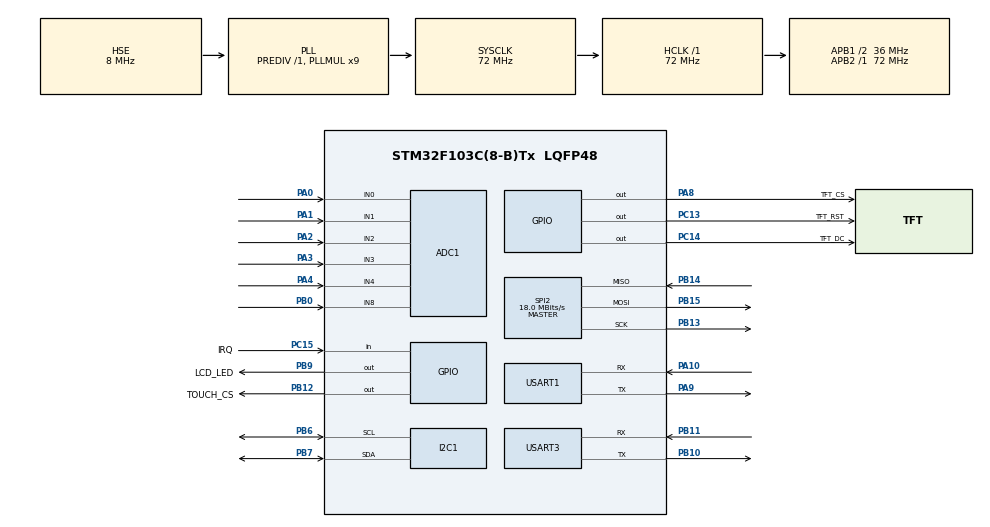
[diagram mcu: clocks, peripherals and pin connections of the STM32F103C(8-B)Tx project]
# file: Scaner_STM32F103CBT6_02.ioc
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ADC1.Channel-0\#ChannelRegularConversion=ADC_CHANNEL_0
ADC1.Channel-1\#ChannelRegularConversion=ADC_CHANNEL_1
ADC1.Channel-2\#ChannelRegularConversion=ADC_CHANNEL_2
ADC1.Channel-3\#ChannelRegularConversion=ADC_CHANNEL_8
ADC1.Channel-4\#ChannelRegularConversion=ADC_CHANNEL_4
ADC1.Channel-5\#ChannelRegularConversion=ADC_CHANNEL_3
ADC1.ExternalTrigConv=ADC_EXTERNALTRIGCONV_T3_TRGO
ADC1.NbrOfConversion=6
ADC1.NbrOfConversionFlag=1
ADC1.Rank-0\#ChannelRegularConversion=1
ADC1.Rank-1\#ChannelRegularConversion=2
ADC1.Rank-2\#ChannelRegularConversion=3
ADC1.Rank-3\#ChannelRegularConversion=4
ADC1.Rank-4\#ChannelRegularConversion=5
ADC1.Rank-5\#ChannelRegularConversion=6
ADC1.SamplingTime-0\#ChannelRegularConversion=ADC_SAMPLETIME_13CYCLES_5
ADC1.SamplingTime-1\#ChannelRegularConversion=ADC_SAMPLETIME_13CYCLES_5
ADC1.SamplingTime-2\#ChannelRegularConversion=ADC_SAMPLETIME_13CYCLES_5
ADC1.SamplingTime-3\#ChannelRegularConversion=ADC_SAMPLETIME_13CYCLES_5
ADC1.SamplingTime-4\#ChannelRegularConversion=ADC_SAMPLETIME_13CYCLES_5
ADC1.SamplingTime-5\#ChannelRegularConversion=ADC_SAMPLETIME_13CYCLES_5
ADC1.master=1
Dma.ADC1.0.Direction=DMA_PERIPH_TO_MEMORY
Dma.ADC1.0.Instance=DMA1_Channel1
Dma.ADC1.0.MemDataAlignment=DMA_MDATAALIGN_HALFWORD
Dma.ADC1.0.MemInc=DMA_MINC_ENABLE
Dma.ADC1.0.Mode=DMA_NORMAL
Dma.ADC1.0.PeriphDataAlignment=DMA_PDATAALIGN_HALFWORD
Dma.ADC1.0.PeriphInc=DMA_PINC_DISABLE
Dma.ADC1.0.Priority=DMA_PRIORITY_LOW
Dma.Request0=ADC1
Mcu.Family=STM32F1
Mcu.Name=STM32F103C(8-B)Tx
Mcu.Package=LQFP48
NVIC.DMA1_Channel1_IRQn=true\:0\:0\:false\:false\:true\:false\:true\:true
NVIC.PriorityGroup=NVIC_PRIORITYGROUP_4
PA0-WKUP.Signal=ADCx_IN0
PA1.Signal=ADCx_IN1
PA10.Mode=Asynchronous
PA10.Signal=USART1_RX
PA2.Signal=ADCx_IN2
PA3.Signal=ADCx_IN3
PA4.Signal=ADCx_IN4
PA8.GPIO_Label=TFT_CS
PA8.Signal=GPIO_Output
PA9.Mode=Asynchronous
PA9.Signal=USART1_TX
PB0.Signal=ADCx_IN8
PB10.Mode=Asynchronous
PB10.Signal=USART3_TX
PB11.Mode=Asynchronous
PB11.Signal=USART3_RX
PB12.GPIO_Label=TOUCH_CS
PB12.Signal=GPIO_Output
PB13.Mode=Full_Duplex_Master
PB13.Signal=SPI2_SCK
PB14.Mode=Full_Duplex_Master
PB14.Signal=SPI2_MISO
PB15.Mode=Full_Duplex_Master
PB15.Signal=SPI2_MOSI
PB6.Mode=I2C
PB6.Signal=I2C1_SCL
PB7.Mode=I2C
PB7.Signal=I2C1_SDA
PB9.GPIO_Label=LCD_LED
PB9.Signal=GPIO_Output
PC13-TAMPER-RTC.GPIO_Label=TFT_RST
PC13-TAMPER-RTC.Signal=GPIO_Output
PC14-OSC32_IN.GPIO_Label=TFT_DC
PC14-OSC32_IN.Signal=GPIO_Output
PC15-OSC32_OUT.GPIO_Label=IRQ
PC15-OSC32_OUT.Signal=GPIO_Input
PD0-OSC_IN.Mode=HSE-External-Oscillator
PD0-OSC_IN.Signal=RCC_OSC_IN
PD1-OSC_OUT.Mode=HSE-External-Oscillator
PD1-OSC_OUT.Signal=RCC_OSC_OUT
ProjectManager.HeapSize=0x200
ProjectManager.StackSize=0x400
ProjectManager.TargetToolchain=MDK-ARM V5.32
RCC.ADCPresc=RCC_ADCPCLK2_DIV6
RCC.AHBFreq_Value=72000000
RCC.APB1CLKDivider=RCC_HCLK_DIV2
RCC.APB1Freq_Value=36000000
RCC.APB1TimFreq_Value=72000000
RCC.APB2Freq_Value=72000000
RCC.APB2TimFreq_Value=72000000
RCC.HCLKFreq_Value=72000000
RCC.PLLMUL=RCC_PLL_MUL9
RCC.PLLSourceVirtual=RCC_PLLSOURCE_HSE
RCC.SYSCLKFreq_VALUE=72000000
RCC.SYSCLKSource=RCC_SYSCLKSOURCE_PLLCLK
RCC.USBFreq_Value=72000000
SH.ADCx_IN0.0=ADC1_IN0,IN0
SH.ADCx_IN1.0=ADC1_IN1,IN1
SH.ADCx_IN2.0=ADC1_IN2,IN2
SH.ADCx_IN3.0=ADC1_IN3,IN3
SH.ADCx_IN4.0=ADC1_IN4,IN4
SH.ADCx_IN8.0=ADC1_IN8,IN8
SPI2.CalculateBaudRate=18.0 MBits/s
SPI2.Direction=SPI_DIRECTION_2LINES
SPI2.Mode=SPI_MODE_MASTER
SPI2.VirtualType=VM_MASTER
TIM3.Period=10000-1
TIM3.Prescaler=720-1
TIM3.TIM_MasterOutputTrigger=TIM_TRGO_UPDATE
USART1.VirtualMode=VM_ASYNC
USART3.VirtualMode=VM_ASYNC
VP_SYS_VS_ND.Mode=No_Debug
VP_TIM3_VS_ClockSourceINT.Mode=Internal
board=custom

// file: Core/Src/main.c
/* USER CODE BEGIN Header */
/**
  ******************************************************************************
  * @file           : main.c
  * @brief          : Main program body
  ******************************************************************************
  * @attention
  *
  * Copyright (c) 2023 STMicroelectronics.
  * All rights reserved.
  *
  * This software is licensed under terms that can be found in the LICENSE file
  * in the root directory of this software component.
  * If no LICENSE file comes with this software, it is provided AS-IS.
  *
  ******************************************************************************
  */
/* USER CODE END Header */
#include "main.h"

/* USER CODE BEGIN Includes */
#include "string.h" // это для функции strlen()
#include <stdarg.h>
#include <stdbool.h>
#include <ctype.h>
#include "stdio.h"

#include "r820t2.h"

#include "ILI9341_GFX.h"
#include "fonts.h"
#include "img.h"
#include "xpt2046_touch.h"

/* USER CODE END Includes */

/* USER CODE BEGIN PM */
volatile uint8_t flag = 0;
/* USER CODE END PM */

ADC_HandleTypeDef hadc1;
DMA_HandleTypeDef hdma_adc1;

I2C_HandleTypeDef hi2c1;

SPI_HandleTypeDef hspi2;

TIM_HandleTypeDef htim3;

UART_HandleTypeDef huart1;
UART_HandleTypeDef huart3;

/* USER CODE BEGIN PV */
char trans_str[64] = {0,};
volatile uint16_t adc[6] = {0,}; // у нас два канала поэтому массив из двух элементов

volatile uint32_t R820T2_freq = 1090000000;
/* USER CODE END PV */

void SystemClock_Config(void);
static void MX_GPIO_Init(void);
static void MX_DMA_Init(void);
static void MX_ADC1_Init(void);
static void MX_TIM3_Init(void);
static void MX_USART1_UART_Init(void);
static void MX_I2C1_Init(void);
static void MX_SPI2_Init(void);
static void MX_USART3_UART_Init(void);

/* USER CODE BEGIN 0 */
void HAL_ADC_ConvCpltCallback(ADC_HandleTypeDef* hadc)
{

	if(hadc->Instance == ADC1)
    {
        flag = 1;
    }
}

void UART_Printf(const char* fmt, ...) {
    char buff[256];
    va_list args;
    va_start(args, fmt);
    vsnprintf(buff, sizeof(buff), fmt, args);
    HAL_UART_Transmit(&huart1, (uint8_t*)buff, strlen(buff),
                      HAL_MAX_DELAY);
    va_end(args);
}

HAL_StatusTypeDef UART_ReceiveString(
        UART_HandleTypeDef *huart, uint8_t *pData,
        uint16_t Size, uint32_t Timeout) {
    const char newline[] = "\r\n";
    const char delete[] = "\x08 \x08";
    HAL_StatusTypeDef status;

    if(Size == 0)
        return HAL_ERROR;

    int i = 0;
    for(;;) {
        status = HAL_UART_Receive(huart, &pData[i], 1, Timeout);
        if(status != HAL_OK)
            return status;

        if((pData[i] == '\x08')||(pData[i] == '\x7F')) { // backspace
            if(i > 0) {
                status = HAL_UART_Transmit(huart, (uint8_t*)delete,
                                           sizeof(delete)-1, Timeout);
                if(status != HAL_OK)
                    return status;
                i--;
            }
            continue;
        }

        if((pData[i] == '\r') || (pData[i] == '\n')) {
            pData[i] = '\0';
            status = HAL_UART_Transmit(huart, (uint8_t*)newline,
                                       sizeof(newline)-1, Timeout);
            if(status != HAL_OK)
                return status;
            break;
        }

        // last character is reserved for '\0'
        if(i == (Size-1)) {
            continue; // buffer is full, ignore any input
        }

        status = HAL_UART_Transmit(huart, &pData[i], 1, Timeout);
        if(status != HAL_OK)
            return status;
        i++;
    }

    return HAL_OK;
}

void init() {
    /* do nothing */
}

void cmd_help() {
    UART_Printf("help              - show this message\r\n");
    UART_Printf("scan              - perform I2C scan\r\n");
    UART_Printf("dump              - read all registers\r\n");
    UART_Printf("read <reg>        - read given register value\r\n"
                "                    (e.g `read 0A`)\r\n");
    UART_Printf("write <reg> <val> - write <val> to register <reg>\r\n"
                "                    (e.g. `write 0A E1`)\r\n");
    UART_Printf("init              - initialize R820T2\r\n");
    UART_Printf("calibrate         - calibrate R820T2\r\n");
    UART_Printf("frequency <val>   - set frequency to <val>\r\n"
                "                    (e.g. `frequency 144000000`)\r\n");
    UART_Printf("bandwidth <val>   - Set IF bandwidth [0-15]\r\n");
    UART_Printf("lna_gain <val>    - Set gain of LNA [0-15]\r\n");
    UART_Printf("vga_gain <val>    - Set gain of VGA [0-15]\r\n");
    UART_Printf("mixer_gain <val>  - Set gain Mixer [0-15]\r\n");
    UART_Printf("lna_agc <val>     - Enable/disable LNA AGC [0-1]\r\n");
    UART_Printf("mixer_agc <val>   - Enable/disable Mixer AGC [0-1]\r\n");
}

void cmd_scan() {
    HAL_StatusTypeDef res;
    for(uint16_t i = 0; i < 128; i++) {
        res = HAL_I2C_IsDeviceReady(&hi2c1, i << 1, 1, 10);
        if(res == HAL_OK) {
            UART_Printf("0x%02X ", i);
        } else {
            UART_Printf(".");
        }
    }
    UART_Printf("\r\n");
}

void cmd_dump() {
    uint8_t regs[R820T2_NUM_REGS];
    R820T2_read(0x00, regs, sizeof(regs));
    for(uint8_t i = 0; i < R820T2_NUM_REGS; i++) {
        UART_Printf("%02X ", regs[i]);
        if((i & 0x7) == 0x7) {
            UART_Printf("  ");
        }
        if((i & 0xF) == 0xF) {
            UART_Printf("\r\n");
        }
    }
}

void cmd_read(uint8_t reg) {
    if(reg >= R820T2_NUM_REGS) {
        UART_Printf("Out of bound: 0x00-0x%02X\r\n", R820T2_NUM_REGS);
        return;
    }

    uint8_t val = R820T2_read_reg(reg);
    UART_Printf("%02X\r\n", val);
}

void cmd_write(uint8_t reg, uint8_t val) {
    if(reg >= R820T2_NUM_REGS) {
        UART_Printf("Out of bound: 0x00-0x%02X\r\n", R820T2_NUM_REGS);
        return;
    }

    R820T2_write_reg(reg, val);
}

void cmd_init() {
    R820T2_init();
}

void cmd_calibrate() {
    int32_t res = R820T2_calibrate();
    if(res != 0) {
        UART_Printf("Calibration failed, res = %d\r\n", res);
    }
}

void cmd_frequency(uint32_t val) {
    if((val < 24000000) || (val > 1766000000)) {
        UART_Printf("Out of bound: 24000000-1766000000\r\n");
        return;
    }
    R820T2_set_frequency(val);
}

void cmd_bandwidth(uint32_t val) {
    if(val > 15) {
        UART_Printf("Out of bound: 0-15\r\n");
        return;
    }

    R820T2_set_bandwidth(val);
}

void cmd_lna_gain(uint32_t val) {
    if(val > 15) {
        UART_Printf("Out of bound: 0-15\r\n");
        return;
    }

    R820T2_set_lna_gain(val);
}

void cmd_vga_gain(uint32_t val) {
    if(val > 15) {
        UART_Printf("Out of bound: 0-15\r\n");
        return;
    }

    R820T2_set_vga_gain(val);
}

void cmd_mixer_gain(uint32_t val) {
    if(val > 15) {
        UART_Printf("Out of bound: 0-15\r\n");
        return;
    }

    R820T2_set_mixer_gain(val);
}

void cmd_lna_agc(uint32_t val) {
    if(val > 1) {
        UART_Printf("Out of bound: 0-15\r\n");
        return;
    }

    R820T2_set_lna_agc(val);
}

void cmd_mixer_agc(uint32_t val) {
    if(val > 1) {
        UART_Printf("Out of bound: 0-1\r\n");
        return;
    }

    R820T2_set_mixer_agc(val);
}

void loop()
	{
    unsigned int uint1, uint2;
    char cmd[128];
    UART_Printf("r820t2> ");
    UART_ReceiveString(&huart1, (uint8_t*)cmd, sizeof(cmd), HAL_MAX_DELAY);

    if(strcmp(cmd, "") == 0) {
        /* empty command - do nothing */
    } else if(strcmp(cmd, "help") == 0) {
        cmd_help();
    } else if(strcmp(cmd, "scan") == 0) {
        cmd_scan();
    } else if(strcmp(cmd, "init") == 0) {
        cmd_init();
    } else if(strcmp(cmd, "calibrate") == 0) {
        cmd_calibrate();
    } else if(strcmp(cmd, "dump") == 0) {
        cmd_dump();
    } else if(sscanf(cmd, "frequency %u", &uint1) == 1) {
        cmd_frequency((uint32_t)uint1);
    } else if(sscanf(cmd, "bandwidth %u", &uint1) == 1) {
        cmd_bandwidth((uint32_t)uint1);
    } else if(sscanf(cmd, "lna_gain %u", &uint1) == 1) {
        cmd_lna_gain((uint32_t)uint1);
    } else if(sscanf(cmd, "vga_gain %u", &uint1) == 1) {
        cmd_vga_gain((uint32_t)uint1);
    } else if(sscanf(cmd, "mixer_gain %u", &uint1) == 1) {
        cmd_mixer_gain((uint32_t)uint1);
    } else if(sscanf(cmd, "lna_agc %u", &uint1) == 1) {
        cmd_lna_agc((uint32_t)uint1);
    } else if(sscanf(cmd, "mixer_agc %u", &uint1) == 1) {
        cmd_mixer_agc((uint32_t)uint1);
    } else if(sscanf(cmd, "read %02x", &uint1) == 1) {
        cmd_read((uint8_t)uint1);
    } else if(sscanf(cmd, "write %02x %02x", &uint1, &uint2) == 2) {
        cmd_write((uint8_t)uint1, (uint8_t)uint2);
    } else {
        UART_Printf("Unknown command, try `help`\r\n");
    }
}

/* USER CODE END 0 */

int main(void)
{

  /* MCU Configuration--------------------------------------------------------*/

  /* Reset of all peripherals, Initializes the Flash interface and the Systick. */
  HAL_Init();

  /* Configure the system clock */
  SystemClock_Config();

  /* Initialize all configured peripherals */
  MX_GPIO_Init();
  MX_DMA_Init();
  MX_ADC1_Init();
  MX_TIM3_Init();
  MX_USART1_UART_Init();
  MX_I2C1_Init();
  MX_SPI2_Init();
  MX_USART3_UART_Init();
  /* USER CODE BEGIN 2 */
	HAL_ADCEx_Calibration_Start(&hadc1);
	HAL_ADC_Start_DMA(&hadc1, (uint32_t*)&adc, 6); // стартуем АЦП
	HAL_TIM_Base_Start(&htim3);

	uint32_t R820T2_freq = 860000000;
	uint32_t  timme = 0;
	uint32_t  timmeR = 0;

	HAL_UART_Transmit(&huart1, (uint8_t*)"Scaner_STM32F103CBT6_02\n", 6, 1000);

  __HAL_SPI_ENABLE(DISP_SPI_PTR);

  DISP_CS_UNSELECT;
  TOUCH_CS_UNSELECT; // это нужно только если есть тач

  /////////////////////////////////////////////////////////////////////////////////////////////////////////////////
  ILI9341_Init(); // инициализация дисплея

  /////////////////////////// далее демонстрируются различные пользовательские функции ////////////////////////////
  ILI9341_Set_Rotation(SCREEN_VERTICAL_1); // установка ориентации экрана (варианты в файле ILI9341_GFX.h)

  /////////////////////////////////////////////////////////////////////////////////////////////////////////////////
  ILI9341_Fill_Screen(MYFON); // заливка всего экрана цветом (цвета в файле ILI9341_GFX.h)

  /////////////////////////////////////////////////////////////////////////////////////////////////////////////////
  /* вывод строк разными шрифтами (шрифты определены в файле fonts.h, а массивы шрифтов в файле fonts.c)
  первый и второй аргумент это начало координат (справа, сверху), четвёртый аргумент шрифт
  два последних аргумента это цвет шрифта и цвет фона шрифта */

//  ILI9341_WriteString(10, 10, "Hello World", Font_7x10, WHITE, MYFON); // можно передавать непосредственно текст
//  ILI9341_WriteString(20, 30, "Hello World", Font_11x18, WHITE, MYFON);
  ILI9341_WriteString(30, 60, "Hello World", Font_16x26, BLUE, DARKGREEN);

  char txt_buf[] = "Hello World";
  ILI9341_WriteString(40, 96, txt_buf, Font_16x26, RED, GREEN); // можно передавать массив

  HAL_Delay(1000);

  ILI9341_Fill_Screen(MYFON);

	  char buf[64] = {0,};

  uint8_t flag_press = 1;
  uint32_t time_press = 0;

  uint8_t flag_hold = 1;
  uint32_t timme_hold = 0;

  uint16_t x = 0;
  uint16_t y = 0;

		 R820T2_init();
  /* USER CODE END 2 */

  /* Infinite loop */
  /* USER CODE BEGIN WHILE */
  while (1)
  {

	//	loop();

//		if(flag)
//		{
//			flag = 0;
//			HAL_ADC_Stop_DMA(&hadc1); // это необязательно
//			snprintf(trans_str, 63, "ADC %d %d %d %d %d %d\n", (uint16_t)adc[0], (uint16_t)adc[1], (uint16_t)adc[2], (uint16_t)adc[3], (uint16_t)adc[4], (uint16_t)adc[5]);
//		//	snprintf(trans_str, 63, "ADC %d %d %d\n", (uint16_t)adc[3], (uint16_t)adc[4], (uint16_t)adc[5]);
//		//	HAL_UART_Transmit(&huart1, (uint8_t*)trans_str, strlen(trans_str), 1000);
////			adc[0] = 0;
////			adc[1] = 0;
////			adc[2] = 0;
////			adc[3] = 0;
////			adc[4] = 0;
////			adc[5] = 0;

//
//			if(R820T2_freq == 860000000)
//			timme = HAL_GetTick();
//
//	   	cmd_frequency(R820T2_freq);
//			R820T2_freq+=4000000;

//			if(R820T2_freq > 920000000)
//			{
//				timmeR = HAL_GetTick() - timme;
//				snprintf(trans_str, 128, "Time MS %lu \n" , timmeR);
//				timmeR = HAL_GetTick();
//			//	HAL_UART_Transmit(&huart1, (uint8_t*)trans_str, strlen(trans_str), 1000);
//				R820T2_freq = 860000000;
//			}

//				HAL_ADC_Start_DMA(&hadc1, (uint32_t*)&adc, 6);
//		}
//				ILI9341_Fill_Screen(MYFON);
//	if(HAL_GPIO_ReadPin(IRQ_GPIO_Port, IRQ_Pin) == GPIO_PIN_RESET && flag_press) // если нажат тачскрин
//  {
//	  x = 0;
//	  y = 0;

//	  TOUCH_CS_UNSELECT;
//	  DISP_CS_UNSELECT;

//	  HAL_SPI_DeInit(DISP_SPI_PTR);
//	  hspi2.Init.BaudRatePrescaler = SPI_BAUDRATEPRESCALER_64;
//	  HAL_SPI_Init(DISP_SPI_PTR);

//	  if(ILI9341_TouchGetCoordinates(&x, &y))
//	  {
//		  flag_press = 0;

//		  //////// вывод координат в уарт для отладки ////////
//		  snprintf(buf, 64, "X = %d, Y = %d\n", x, y);
//		  HAL_UART_Transmit(&huart1, (uint8_t*)buf, strlen(buf), 100);
//		  buf[strlen(buf) - 1] = '\0';
//		  //////////////////////////////////////////////////////
//	  }

//	  HAL_SPI_DeInit(DISP_SPI_PTR);
//	  hspi2.Init.BaudRatePrescaler = SPI_BAUDRATEPRESCALER_4;
//	  HAL_SPI_Init(DISP_SPI_PTR);

//	  __HAL_SPI_ENABLE(DISP_SPI_PTR);
//	  DISP_CS_SELECT;

//	  //////// вывод координат на экран для отладки ////////
//	  ILI9341_Fill_Screen(MYFON);
//	  ILI9341_WriteString(10, 120, buf, Font_11x18, WHITE, MYFON);
//	  //////////////////////////////////////////////////////

//	  if(x > 250 && x < 285 && y > 65 && y < 96) // если нажатие происходит в области этих координат
//	  {
//		  // что-то делаем
//	  }
//	  else if(x > 120 && x < 160 && y > 50 && y < 90) // если нажатие происходит в области этих координат
//	  {
//		  // что-то делаем
//	  }
//	  ///////////////// если нажатие происходит c удержанием кнопки ////////////////
//	  else if(x > 5 && x < 90 && y > 160 && y < 230 && flag_hold) // первая кнопка
//	  {
//		  flag_hold = 0;
//		  timme_hold = HAL_GetTick();
//		  // здесь ничего не делаем
//	  }
//	  else if(x > 100 && x < 200 && y > 160 && y < 230 && flag_hold) // вторая кнопка
//	  {
//		  flag_hold = 0;
//		  timme_hold = HAL_GetTick();
//		  // здесь ничего не делаем
//	  }

//	  ///////////////////////////
//	  time_press = HAL_GetTick();
//  }

//  if(!flag_press && (HAL_GetTick() - time_press) > 100) // задержка до следующего нажатия
//  {
//	  flag_press = 1;
//  }

//  //////////////////////////// удержание кнопки //////////////////////////////
//  if(!flag_hold && HAL_GPIO_ReadPin(IRQ_GPIO_Port, IRQ_Pin) != GPIO_PIN_RESET)
//  {
//	  flag_hold = 1;
//  }

//  if(!flag_hold && (HAL_GetTick() - timme_hold) > 2000) // 2 sek удержание кнопки
//  {
//	  if(HAL_GPIO_ReadPin(IRQ_GPIO_Port, IRQ_Pin) == GPIO_PIN_RESET)
//	  {
//		  if(x > 5 && x < 90 && y > 160 && y < 230) // первая кнопка
//		  {
//			  HAL_UART_Transmit(&huart1, (uint8_t*)"LONG PRESS_1\n", 13, 100); // отладка
//			  ILI9341_WriteString(10, 150, "LONG PRESS_1", Font_11x18, WHITE, MYFON); // отладка
//			  // что-то делаем
//		  }
//		  else if(x > 100 && x < 200 && y > 160 && y < 230) // вторая кнопка
//		  {
//			  HAL_UART_Transmit(&huart1, (uint8_t*)"LONG PRESS_2\n", 13, 100); // отладка
//			  ILI9341_WriteString(10, 150, "LONG PRESS_2", Font_11x18, WHITE, MYFON); // отладка
//			  // что-то делаем
//		  }
//	  }

//	  flag_hold = 1;
//  }
//
//

    /* USER CODE END WHILE */

  }
}

void SystemClock_Config(void)
{
  RCC_OscInitTypeDef RCC_OscInitStruct = {0};
  RCC_ClkInitTypeDef RCC_ClkInitStruct = {0};
  RCC_PeriphCLKInitTypeDef PeriphClkInit = {0};

  /** Initializes the RCC Oscillators according to the specified parameters
  * in the RCC_OscInitTypeDef structure.
  */
  RCC_OscInitStruct.OscillatorType = RCC_OSCILLATORTYPE_HSE;
  RCC_OscInitStruct.HSEState = RCC_HSE_ON;
  RCC_OscInitStruct.HSEPredivValue = RCC_HSE_PREDIV_DIV1;
  RCC_OscInitStruct.HSIState = RCC_HSI_ON;
  RCC_OscInitStruct.PLL.PLLState = RCC_PLL_ON;
  RCC_OscInitStruct.PLL.PLLSource = RCC_PLLSOURCE_HSE;
  RCC_OscInitStruct.PLL.PLLMUL = RCC_PLL_MUL9;
  if (HAL_RCC_OscConfig(&RCC_OscInitStruct) != HAL_OK)
  {
    Error_Handler();
  }

  /** Initializes the CPU, AHB and APB buses clocks
  */
  RCC_ClkInitStruct.ClockType = RCC_CLOCKTYPE_HCLK|RCC_CLOCKTYPE_SYSCLK
                              |RCC_CLOCKTYPE_PCLK1|RCC_CLOCKTYPE_PCLK2;
  RCC_ClkInitStruct.SYSCLKSource = RCC_SYSCLKSOURCE_PLLCLK;
  RCC_ClkInitStruct.AHBCLKDivider = RCC_SYSCLK_DIV1;
  RCC_ClkInitStruct.APB1CLKDivider = RCC_HCLK_DIV2;
  RCC_ClkInitStruct.APB2CLKDivider = RCC_HCLK_DIV1;

  if (HAL_RCC_ClockConfig(&RCC_ClkInitStruct, FLASH_LATENCY_2) != HAL_OK)
  {
    Error_Handler();
  }
  PeriphClkInit.PeriphClockSelection = RCC_PERIPHCLK_ADC;
  PeriphClkInit.AdcClockSelection = RCC_ADCPCLK2_DIV6;
  if (HAL_RCCEx_PeriphCLKConfig(&PeriphClkInit) != HAL_OK)
  {
    Error_Handler();
  }
}

static void MX_ADC1_Init(void)
{

  ADC_ChannelConfTypeDef sConfig = {0};

  /** Common config
  */
  hadc1.Instance = ADC1;
  hadc1.Init.ScanConvMode = ADC_SCAN_ENABLE;
  hadc1.Init.ContinuousConvMode = DISABLE;
  hadc1.Init.DiscontinuousConvMode = DISABLE;
  hadc1.Init.ExternalTrigConv = ADC_EXTERNALTRIGCONV_T3_TRGO;
  hadc1.Init.DataAlign = ADC_DATAALIGN_RIGHT;
  hadc1.Init.NbrOfConversion = 6;
  if (HAL_ADC_Init(&hadc1) != HAL_OK)
  {
    Error_Handler();
  }

  /** Configure Regular Channel
  */
  sConfig.Channel = ADC_CHANNEL_0;
  sConfig.Rank = ADC_REGULAR_RANK_1;
  sConfig.SamplingTime = ADC_SAMPLETIME_13CYCLES_5;
  if (HAL_ADC_ConfigChannel(&hadc1, &sConfig) != HAL_OK)
  {
    Error_Handler();
  }

  /** Configure Regular Channel
  */
  sConfig.Channel = ADC_CHANNEL_1;
  sConfig.Rank = ADC_REGULAR_RANK_2;
  if (HAL_ADC_ConfigChannel(&hadc1, &sConfig) != HAL_OK)
  {
    Error_Handler();
  }

  /** Configure Regular Channel
  */
  sConfig.Channel = ADC_CHANNEL_2;
  sConfig.Rank = ADC_REGULAR_RANK_3;
  if (HAL_ADC_ConfigChannel(&hadc1, &sConfig) != HAL_OK)
  {
    Error_Handler();
  }

  /** Configure Regular Channel
  */
  sConfig.Channel = ADC_CHANNEL_8;
  sConfig.Rank = ADC_REGULAR_RANK_4;
  if (HAL_ADC_ConfigChannel(&hadc1, &sConfig) != HAL_OK)
  {
    Error_Handler();
  }

  /** Configure Regular Channel
  */
  sConfig.Channel = ADC_CHANNEL_4;
  sConfig.Rank = ADC_REGULAR_RANK_5;
  if (HAL_ADC_ConfigChannel(&hadc1, &sConfig) != HAL_OK)
  {
    Error_Handler();
  }

  /** Configure Regular Channel
  */
  sConfig.Channel = ADC_CHANNEL_3;
  sConfig.Rank = ADC_REGULAR_RANK_6;
  if (HAL_ADC_ConfigChannel(&hadc1, &sConfig) != HAL_OK)
  {
    Error_Handler();
  }

}

static void MX_I2C1_Init(void)
{

  hi2c1.Instance = I2C1;
  hi2c1.Init.ClockSpeed = 100000;
  hi2c1.Init.DutyCycle = I2C_DUTYCYCLE_2;
  hi2c1.Init.OwnAddress1 = 0;
  hi2c1.Init.AddressingMode = I2C_ADDRESSINGMODE_7BIT;
  hi2c1.Init.DualAddressMode = I2C_DUALADDRESS_DISABLE;
  hi2c1.Init.OwnAddress2 = 0;
  hi2c1.Init.GeneralCallMode = I2C_GENERALCALL_DISABLE;
  hi2c1.Init.NoStretchMode = I2C_NOSTRETCH_DISABLE;
  if (HAL_I2C_Init(&hi2c1) != HAL_OK)
  {
    Error_Handler();
  }

}

static void MX_SPI2_Init(void)
{

  /* SPI2 parameter configuration*/
  hspi2.Instance = SPI2;
  hspi2.Init.Mode = SPI_MODE_MASTER;
  hspi2.Init.Direction = SPI_DIRECTION_2LINES;
  hspi2.Init.DataSize = SPI_DATASIZE_8BIT;
  hspi2.Init.CLKPolarity = SPI_POLARITY_LOW;
  hspi2.Init.CLKPhase = SPI_PHASE_1EDGE;
  hspi2.Init.NSS = SPI_NSS_SOFT;
  hspi2.Init.BaudRatePrescaler = SPI_BAUDRATEPRESCALER_2;
  hspi2.Init.FirstBit = SPI_FIRSTBIT_MSB;
  hspi2.Init.TIMode = SPI_TIMODE_DISABLE;
  hspi2.Init.CRCCalculation = SPI_CRCCALCULATION_DISABLE;
  hspi2.Init.CRCPolynomial = 10;
  if (HAL_SPI_Init(&hspi2) != HAL_OK)
  {
    Error_Handler();
  }

}

static void MX_TIM3_Init(void)
{

  TIM_ClockConfigTypeDef sClockSourceConfig = {0};
  TIM_MasterConfigTypeDef sMasterConfig = {0};

  htim3.Instance = TIM3;
  htim3.Init.Prescaler = 720-1;
  htim3.Init.CounterMode = TIM_COUNTERMODE_UP;
  htim3.Init.Period = 10000-1;
  htim3.Init.ClockDivision = TIM_CLOCKDIVISION_DIV1;
  htim3.Init.AutoReloadPreload = TIM_AUTORELOAD_PRELOAD_DISABLE;
  if (HAL_TIM_Base_Init(&htim3) != HAL_OK)
  {
    Error_Handler();
  }
  sClockSourceConfig.ClockSource = TIM_CLOCKSOURCE_INTERNAL;
  if (HAL_TIM_ConfigClockSource(&htim3, &sClockSourceConfig) != HAL_OK)
  {
    Error_Handler();
  }
  sMasterConfig.MasterOutputTrigger = TIM_TRGO_UPDATE;
  sMasterConfig.MasterSlaveMode = TIM_MASTERSLAVEMODE_DISABLE;
  if (HAL_TIMEx_MasterConfigSynchronization(&htim3, &sMasterConfig) != HAL_OK)
  {
    Error_Handler();
  }

}

static void MX_USART1_UART_Init(void)
{

  huart1.Instance = USART1;
  huart1.Init.BaudRate = 115200;
  huart1.Init.WordLength = UART_WORDLENGTH_8B;
  huart1.Init.StopBits = UART_STOPBITS_1;
  huart1.Init.Parity = UART_PARITY_NONE;
  huart1.Init.Mode = UART_MODE_TX_RX;
  huart1.Init.HwFlowCtl = UART_HWCONTROL_NONE;
  huart1.Init.OverSampling = UART_OVERSAMPLING_16;
  if (HAL_UART_Init(&huart1) != HAL_OK)
  {
    Error_Handler();
  }

}

static void MX_USART3_UART_Init(void)
{

  huart3.Instance = USART3;
  huart3.Init.BaudRate = 115200;
  huart3.Init.WordLength = UART_WORDLENGTH_8B;
  huart3.Init.StopBits = UART_STOPBITS_1;
  huart3.Init.Parity = UART_PARITY_NONE;
  huart3.Init.Mode = UART_MODE_TX_RX;
  huart3.Init.HwFlowCtl = UART_HWCONTROL_NONE;
  huart3.Init.OverSampling = UART_OVERSAMPLING_16;
  if (HAL_UART_Init(&huart3) != HAL_OK)
  {
    Error_Handler();
  }

}

static void MX_DMA_Init(void)
{

  /* DMA controller clock enable */
  __HAL_RCC_DMA1_CLK_ENABLE();

  /* DMA interrupt init */
  /* DMA1_Channel1_IRQn interrupt configuration */
  HAL_NVIC_SetPriority(DMA1_Channel1_IRQn, 0, 0);
  HAL_NVIC_EnableIRQ(DMA1_Channel1_IRQn);

}

static void MX_GPIO_Init(void)
{
  GPIO_InitTypeDef GPIO_InitStruct = {0};

  /* GPIO Ports Clock Enable */
  __HAL_RCC_GPIOC_CLK_ENABLE();
  __HAL_RCC_GPIOD_CLK_ENABLE();
  __HAL_RCC_GPIOA_CLK_ENABLE();
  __HAL_RCC_GPIOB_CLK_ENABLE();

  /*Configure GPIO pin Output Level */
  HAL_GPIO_WritePin(GPIOC, TFT_RST_Pin|TFT_DC_Pin, GPIO_PIN_RESET);

  /*Configure GPIO pin Output Level */
  HAL_GPIO_WritePin(GPIOB, TOUCH_CS_Pin|LCD_LED_Pin, GPIO_PIN_RESET);

  /*Configure GPIO pin Output Level */
  HAL_GPIO_WritePin(TFT_CS_GPIO_Port, TFT_CS_Pin, GPIO_PIN_RESET);

  /*Configure GPIO pins : TFT_RST_Pin TFT_DC_Pin */
  GPIO_InitStruct.Pin = TFT_RST_Pin|TFT_DC_Pin;
  GPIO_InitStruct.Mode = GPIO_MODE_OUTPUT_PP;
  GPIO_InitStruct.Pull = GPIO_NOPULL;
  GPIO_InitStruct.Speed = GPIO_SPEED_FREQ_LOW;
  HAL_GPIO_Init(GPIOC, &GPIO_InitStruct);

  /*Configure GPIO pin : IRQ_Pin */
  GPIO_InitStruct.Pin = IRQ_Pin;
  GPIO_InitStruct.Mode = GPIO_MODE_INPUT;
  GPIO_InitStruct.Pull = GPIO_NOPULL;
  HAL_GPIO_Init(IRQ_GPIO_Port, &GPIO_InitStruct);

  /*Configure GPIO pins : TOUCH_CS_Pin LCD_LED_Pin */
  GPIO_InitStruct.Pin = TOUCH_CS_Pin|LCD_LED_Pin;
  GPIO_InitStruct.Mode = GPIO_MODE_OUTPUT_PP;
  GPIO_InitStruct.Pull = GPIO_NOPULL;
  GPIO_InitStruct.Speed = GPIO_SPEED_FREQ_LOW;
  HAL_GPIO_Init(GPIOB, &GPIO_InitStruct);

  /*Configure GPIO pin : TFT_CS_Pin */
  GPIO_InitStruct.Pin = TFT_CS_Pin;
  GPIO_InitStruct.Mode = GPIO_MODE_OUTPUT_PP;
  GPIO_InitStruct.Pull = GPIO_NOPULL;
  GPIO_InitStruct.Speed = GPIO_SPEED_FREQ_LOW;
  HAL_GPIO_Init(TFT_CS_GPIO_Port, &GPIO_InitStruct);

}

void Error_Handler(void)
{
  __disable_irq();
  while (1)
  {
  }
}
